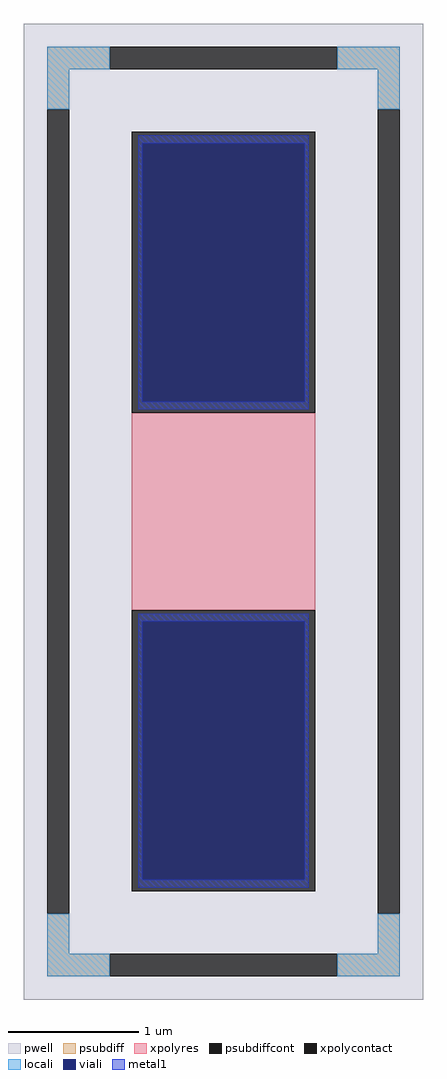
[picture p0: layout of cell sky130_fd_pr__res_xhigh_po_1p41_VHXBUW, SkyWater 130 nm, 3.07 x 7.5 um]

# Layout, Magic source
magic
tech sky130A
magscale 1 2
<< pwell >>
rect -307 -750 307 750
<< psubdiff >>
rect -271 680 -175 714
rect 175 680 271 714
rect -271 618 -237 680
rect 237 618 271 680
rect -271 -680 -237 -618
rect 237 -680 271 -618
rect -271 -714 -175 -680
rect 175 -714 271 -680
<< psubdiffcont >>
rect -175 680 175 714
rect -271 -618 -237 618
rect 237 -618 271 618
rect -175 -714 175 -680
<< xpolycontact >>
rect -141 152 141 584
rect -141 -584 141 -152
<< xpolyres >>
rect -141 -152 141 152
<< locali >>
rect -271 680 -175 714
rect 175 680 271 714
rect -271 618 -237 680
rect 237 618 271 680
rect -271 -680 -237 -618
rect 237 -680 271 -618
rect -271 -714 -175 -680
rect 175 -714 271 -680
<< viali >>
rect -125 169 125 566
rect -125 -566 125 -169
<< metal1 >>
rect -131 566 131 578
rect -131 169 -125 566
rect 125 169 131 566
rect -131 157 131 169
rect -131 -169 131 -157
rect -131 -566 -125 -169
rect 125 -566 131 -169
rect -131 -578 131 -566
<< properties >>
string FIXED_BBOX -254 -697 254 697
string gencell sky130_fd_pr__res_xhigh_po_1p41
string library sky130
string parameters w 1.410 l 1.681 m 1 nx 1 wmin 1.410 lmin 0.50 rho 2000 val 2.651k dummy 0 dw 0.0 term 188.2 sterm 0.0 caplen 0 wmax 1.410 guard 1 glc 1 grc 1 gtc 1 gbc 1 compatible {sky130_fd_pr__res_xhigh_po_0p35  sky130_fd_pr__res_xhigh_po_0p69 sky130_fd_pr__res_xhigh_po_1p41  sky130_fd_pr__res_xhigh_po_2p85 sky130_fd_pr__res_xhigh_po_5p73} snake 0 full_metal 1 n_guard 0 hv_guard 0 vias 1 viagb 0 viagt 0 viagl 0 viagr 0
<< end >>
